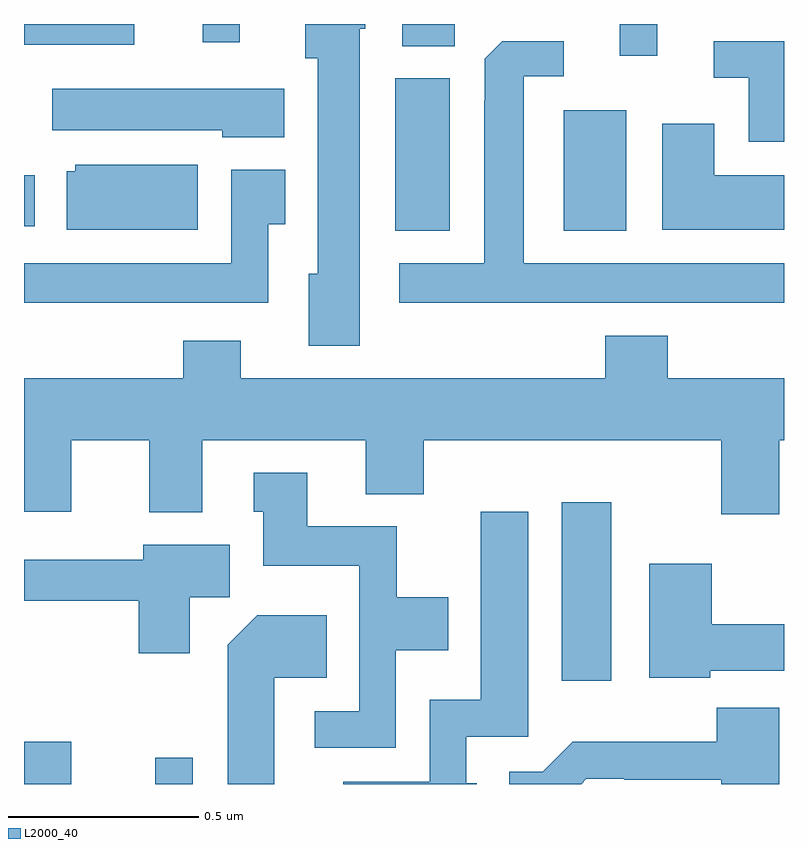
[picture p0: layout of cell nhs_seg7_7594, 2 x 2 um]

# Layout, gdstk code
import gdstk
lib = gdstk.Library(unit=1e-6, precision=1e-09)
def R(c, l, rs):  # rectangles x0, y0, x1, y1
    for r in rs: c.add(gdstk.rectangle(r[:2], r[2:], *l))
def P(c, l, *ps):  # polygons
    for p in ps: c.add(gdstk.Polygon(p, *l))
L2000_40 = (2000, 40)

nhs_seg7_7594 = lib.new_cell('nhs_seg7_7594')
R(nhs_seg7_7594, L2000_40, [(213,1045,213.124,1045.111), (213.346,1045,213.444,1045.069), (214.415,1045.272,214.546,1045.741), (213.977,1046.456,214.12,1046.857), (214.421,1046.456,214.585,1046.773), (213,1046.468,213.028,1046.602), (214.568,1046.916,214.666,1047), (213.995,1046.942,214.134,1047), (213,1046.945,213.29,1047), (213.47,1046.952,213.568,1047)])
P(nhs_seg7_7594, L2000_40, [(213.883,1046.988),(213.898,1046.988),(213.898,1047),(213.74,1047),(213.74,1046.91),(213.773,1046.91),(213.773,1046.343),(213.749,1046.343),(213.749,1046.153),(213.883,1046.153)],
  [(215,1046.955),(214.815,1046.955),(214.815,1046.859),(214.907,1046.859),(214.907,1046.69),(215,1046.69)],
  [(215,1046.371),(214.315,1046.371),(214.315,1046.862),(214.42,1046.862),(214.42,1046.955),(214.258,1046.955),(214.212,1046.909),(214.212,1046.798),(214.211,1046.798),(214.211,1046.371),(213.987,1046.371),(213.987,1046.267),(215,1046.267)],
  [(213.685,1046.83),(213.074,1046.83),(213.074,1046.72),(213.522,1046.72),(213.522,1046.702),(213.685,1046.702)],
  [(215,1046.602),(214.816,1046.602),(214.816,1046.737),(214.679,1046.737),(214.679,1046.459),(215,1046.459)],
  [(213.457,1046.629),(213.135,1046.629),(213.135,1046.613),(213.113,1046.613),(213.113,1046.459),(213.457,1046.459)],
  [(213.643,1046.473),(213.688,1046.473),(213.688,1046.617),(213.546,1046.617),(213.546,1046.371),(213,1046.371),(213,1046.267),(213.643,1046.267)],
  [(214.988,1045.904),(215,1045.904),(215,1046.068),(214.694,1046.068),(214.694,1046.179),(214.529,1046.179),(214.529,1046.068),(213.571,1046.068),(213.571,1046.167),(213.419,1046.167),(213.419,1046.068),(213,1046.068),(213,1045.716),(213.124,1045.716),(213.124,1045.904),(213.329,1045.904),(213.329,1045.715),(213.469,1045.715),(213.469,1045.904),(213.899,1045.904),(213.899,1045.763),(214.052,1045.763),(214.052,1045.904),(214.835,1045.904),(214.835,1045.71),(214.988,1045.71)],
  [(213.978,1045.352),(214.117,1045.352),(214.117,1045.492),(213.981,1045.492),(213.981,1045.678),(213.745,1045.678),(213.745,1045.819),(213.605,1045.819),(213.605,1045.716),(213.629,1045.716),(213.629,1045.574),(213.882,1045.574),(213.882,1045.191),(213.765,1045.191),(213.765,1045.095),(213.978,1045.095)],
  [(214.192,1045.002),(214.164,1045.002),(214.164,1045.125),(214.327,1045.125),(214.327,1045.717),(214.202,1045.717),(214.202,1045.222),(214.068,1045.222),(214.068,1045.006),(213.84,1045.006),(213.84,1045),(214.192,1045)],
  [(213.436,1045.492),(213.541,1045.492),(213.541,1045.63),(213.314,1045.63),(213.314,1045.59),(213,1045.59),(213,1045.482),(213.302,1045.482),(213.302,1045.344),(213.436,1045.344)],
  [(214.806,1045.298),(215,1045.298),(215,1045.42),(214.81,1045.42),(214.81,1045.579),(214.646,1045.579),(214.646,1045.28),(214.806,1045.28)],
  [(213.658,1045.28),(213.797,1045.28),(213.797,1045.444),(213.614,1045.444),(213.536,1045.366),(213.536,1045),(213.658,1045)],
  [(214.48,1045.014),(214.579,1045.014),(214.579,1045.011),(214.835,1045.011),(214.835,1045),(214.988,1045),(214.988,1045.201),(214.823,1045.201),(214.823,1045.111),(214.444,1045.111),(214.365,1045.032),(214.277,1045.032),(214.277,1045),(214.466,1045)])

lib.write_gds('nhs_seg7_7594.gds')
